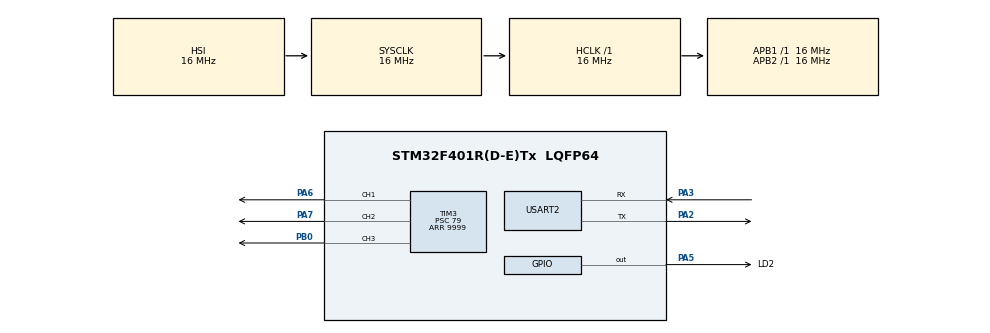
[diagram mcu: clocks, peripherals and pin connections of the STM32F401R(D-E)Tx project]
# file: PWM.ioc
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Mcu.Family=STM32F4
Mcu.Name=STM32F401R(D-E)Tx
Mcu.Package=LQFP64
NVIC.PriorityGroup=NVIC_PRIORITYGROUP_4
NVIC.TIM3_IRQn=true\:10\:0\:true\:false\:true\:true\:true
PA13.Mode=Serial_Wire
PA13.Signal=SYS_JTMS-SWDIO
PA14.Mode=Serial_Wire
PA14.Signal=SYS_JTCK-SWCLK
PA2.Mode=Asynchronous
PA2.Signal=USART2_TX
PA3.Mode=Asynchronous
PA3.Signal=USART2_RX
PA5.GPIO_Label=LD2
PA5.Signal=GPIO_Output
PA6.Signal=S_TIM3_CH1
PA7.Signal=S_TIM3_CH2
PB0.Signal=S_TIM3_CH3
ProjectManager.HeapSize=0x200
ProjectManager.StackSize=0x400
ProjectManager.TargetToolchain=STM32CubeIDE
RCC.AHBFreq_Value=16000000
RCC.APB1Freq_Value=16000000
RCC.APB2Freq_Value=16000000
RCC.CortexFreq_Value=16000000
RCC.HSE_VALUE=25000000
RCC.HSI_VALUE=16000000
RCC.LSE_VALUE=32768
RCC.SYSCLKFreq_VALUE=16000000
RCC.VCOOutputFreq_Value=192000000
SH.S_TIM3_CH1.0=TIM3_CH1,PWM Generation1 CH1
SH.S_TIM3_CH2.0=TIM3_CH2,PWM Generation2 CH2
SH.S_TIM3_CH3.0=TIM3_CH3,PWM Generation3 CH3
TIM3.Channel-PWM\ Generation1\ CH1=TIM_CHANNEL_1
TIM3.Channel-PWM\ Generation2\ CH2=TIM_CHANNEL_2
TIM3.Channel-PWM\ Generation3\ CH3=TIM_CHANNEL_3
TIM3.Period=9999
TIM3.Prescaler=79
TIM3.Pulse-PWM\ Generation1\ CH1=50
TIM3.Pulse-PWM\ Generation2\ CH2=400
TIM3.Pulse-PWM\ Generation3\ CH3=2000
USART2.VirtualMode=VM_ASYNC
VP_TIM3_VS_ClockSourceINT.Mode=Internal
board=custom

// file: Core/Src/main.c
/* USER CODE BEGIN Header */
/**
  ******************************************************************************
  * @file           : main.c
  * @brief          : Main program body
  ******************************************************************************
  * @attention
  *
  * Copyright (c) 2023 STMicroelectronics.
  * All rights reserved.
  *
  * This software is licensed under terms that can be found in the LICENSE file
  * in the root directory of this software component.
  * If no LICENSE file comes with this software, it is provided AS-IS.
  *
  ******************************************************************************
  */
/* USER CODE END Header */
#include "main.h"

/* USER CODE BEGIN Includes */
#include <stdio.h>
#include <stdbool.h>
#include <string.h>
#include "math.h"
/* USER CODE END Includes */

TIM_HandleTypeDef htim3;

UART_HandleTypeDef huart2;

void SystemClock_Config(void);
static void MX_GPIO_Init(void);
static void MX_TIM3_Init(void);
static void MX_USART2_UART_Init(void);

/* USER CODE BEGIN 0 */
void HAL_TIM_PeriodElapsedCallback(TIM_HandleTypeDef *htim)
{
  if (htim == &htim3) {
    HAL_GPIO_TogglePin(LD2_GPIO_Port, LD2_Pin);
    //HAL_GPIO_WritePin(LED1_GPIO_Port, LED1_Pin, GPIO_PIN_SET);
    //HAL_GPIO_WritePin(LED2_GPIO_Port, LED2_Pin, GPIO_PIN_SET);
    //HAL_GPIO_WritePin(LED3_GPIO_Port, LED3_Pin, GPIO_PIN_SET);
  }
}
float calc_pwm(float val)
{
    const float k = 0.13f;
    const float x0 = 70.0f;
    return 10000.0f / (1.0f + exp(-k * (val - x0)));
}
//Reczne obslugiwanie przerwan od kanalow licznika
/*oid HAL_TIM_OC_DelayElapsedCallback(TIM_HandleTypeDef *htim)
{
  if (htim == &htim3) {
    switch (HAL_TIM_GetActiveChannel(&htim3)) {
    case HAL_TIM_ACTIVE_CHANNEL_1:
      HAL_GPIO_WritePin(LED1_GPIO_Port, LED1_Pin, GPIO_PIN_RESET);
      break;
    case HAL_TIM_ACTIVE_CHANNEL_2:
      HAL_GPIO_WritePin(LED2_GPIO_Port, LED2_Pin, GPIO_PIN_RESET);
      break;
    case HAL_TIM_ACTIVE_CHANNEL_3:
      HAL_GPIO_WritePin(LED3_GPIO_Port, LED3_Pin, GPIO_PIN_RESET);
      break;
    default:
      break;
    }
  }
} */
/* USER CODE END 0 */

int main(void)
{

  /* MCU Configuration--------------------------------------------------------*/

  /* Reset of all peripherals, Initializes the Flash interface and the Systick. */
  HAL_Init();

  /* Configure the system clock */
  SystemClock_Config();

  /* Initialize all configured peripherals */
  MX_GPIO_Init();
  MX_TIM3_Init();
  MX_USART2_UART_Init();
  /* USER CODE BEGIN 2 */
int counter;
  HAL_TIM_Base_Start_IT(&htim3);
  HAL_TIM_OC_Start(&htim3, TIM_CHANNEL_1);
  HAL_TIM_OC_Start(&htim3, TIM_CHANNEL_2);
  HAL_TIM_OC_Start(&htim3, TIM_CHANNEL_3);

  /* USER CODE END 2 */

  /* Infinite loop */
  /* USER CODE BEGIN WHILE */
  while (1)
  {
	  float r = 50 * (1.0f + sin(counter / 100.0f));
	  float g = 50 * (1.0f + sin(1.5f * counter / 100.0f));
	  float b = 50 * (1.0f + sin(2.0f * counter / 100.0f));
	  __HAL_TIM_SET_COMPARE(&htim3, TIM_CHANNEL_1, calc_pwm(b));
	  __HAL_TIM_SET_COMPARE(&htim3, TIM_CHANNEL_2, calc_pwm(g));
	  __HAL_TIM_SET_COMPARE(&htim3, TIM_CHANNEL_3, calc_pwm(r));

	  HAL_Delay(10);
	  counter++;
    /* USER CODE END WHILE */

  }
}

void SystemClock_Config(void)
{
  RCC_OscInitTypeDef RCC_OscInitStruct = {0};
  RCC_ClkInitTypeDef RCC_ClkInitStruct = {0};

  /** Configure the main internal regulator output voltage
  */
  __HAL_RCC_PWR_CLK_ENABLE();
  __HAL_PWR_VOLTAGESCALING_CONFIG(PWR_REGULATOR_VOLTAGE_SCALE2);
  /** Initializes the RCC Oscillators according to the specified parameters
  * in the RCC_OscInitTypeDef structure.
  */
  RCC_OscInitStruct.OscillatorType = RCC_OSCILLATORTYPE_HSI;
  RCC_OscInitStruct.HSIState = RCC_HSI_ON;
  RCC_OscInitStruct.HSICalibrationValue = RCC_HSICALIBRATION_DEFAULT;
  RCC_OscInitStruct.PLL.PLLState = RCC_PLL_NONE;
  if (HAL_RCC_OscConfig(&RCC_OscInitStruct) != HAL_OK)
  {
    Error_Handler();
  }
  /** Initializes the CPU, AHB and APB buses clocks
  */
  RCC_ClkInitStruct.ClockType = RCC_CLOCKTYPE_HCLK|RCC_CLOCKTYPE_SYSCLK
                              |RCC_CLOCKTYPE_PCLK1|RCC_CLOCKTYPE_PCLK2;
  RCC_ClkInitStruct.SYSCLKSource = RCC_SYSCLKSOURCE_HSI;
  RCC_ClkInitStruct.AHBCLKDivider = RCC_SYSCLK_DIV1;
  RCC_ClkInitStruct.APB1CLKDivider = RCC_HCLK_DIV1;
  RCC_ClkInitStruct.APB2CLKDivider = RCC_HCLK_DIV1;

  if (HAL_RCC_ClockConfig(&RCC_ClkInitStruct, FLASH_LATENCY_0) != HAL_OK)
  {
    Error_Handler();
  }
}

static void MX_TIM3_Init(void)
{

  TIM_ClockConfigTypeDef sClockSourceConfig = {0};
  TIM_MasterConfigTypeDef sMasterConfig = {0};
  TIM_OC_InitTypeDef sConfigOC = {0};

  htim3.Instance = TIM3;
  htim3.Init.Prescaler = 79;
  htim3.Init.CounterMode = TIM_COUNTERMODE_UP;
  htim3.Init.Period = 9999;
  htim3.Init.ClockDivision = TIM_CLOCKDIVISION_DIV1;
  htim3.Init.AutoReloadPreload = TIM_AUTORELOAD_PRELOAD_DISABLE;
  if (HAL_TIM_Base_Init(&htim3) != HAL_OK)
  {
    Error_Handler();
  }
  sClockSourceConfig.ClockSource = TIM_CLOCKSOURCE_INTERNAL;
  if (HAL_TIM_ConfigClockSource(&htim3, &sClockSourceConfig) != HAL_OK)
  {
    Error_Handler();
  }
  if (HAL_TIM_PWM_Init(&htim3) != HAL_OK)
  {
    Error_Handler();
  }
  sMasterConfig.MasterOutputTrigger = TIM_TRGO_RESET;
  sMasterConfig.MasterSlaveMode = TIM_MASTERSLAVEMODE_DISABLE;
  if (HAL_TIMEx_MasterConfigSynchronization(&htim3, &sMasterConfig) != HAL_OK)
  {
    Error_Handler();
  }
  sConfigOC.OCMode = TIM_OCMODE_PWM1;
  sConfigOC.Pulse = 50;
  sConfigOC.OCPolarity = TIM_OCPOLARITY_HIGH;
  sConfigOC.OCFastMode = TIM_OCFAST_DISABLE;
  if (HAL_TIM_PWM_ConfigChannel(&htim3, &sConfigOC, TIM_CHANNEL_1) != HAL_OK)
  {
    Error_Handler();
  }
  sConfigOC.Pulse = 400;
  if (HAL_TIM_PWM_ConfigChannel(&htim3, &sConfigOC, TIM_CHANNEL_2) != HAL_OK)
  {
    Error_Handler();
  }
  sConfigOC.Pulse = 2000;
  if (HAL_TIM_PWM_ConfigChannel(&htim3, &sConfigOC, TIM_CHANNEL_3) != HAL_OK)
  {
    Error_Handler();
  }
  HAL_TIM_MspPostInit(&htim3);

}

static void MX_USART2_UART_Init(void)
{

  huart2.Instance = USART2;
  huart2.Init.BaudRate = 115200;
  huart2.Init.WordLength = UART_WORDLENGTH_8B;
  huart2.Init.StopBits = UART_STOPBITS_1;
  huart2.Init.Parity = UART_PARITY_NONE;
  huart2.Init.Mode = UART_MODE_TX_RX;
  huart2.Init.HwFlowCtl = UART_HWCONTROL_NONE;
  huart2.Init.OverSampling = UART_OVERSAMPLING_16;
  if (HAL_UART_Init(&huart2) != HAL_OK)
  {
    Error_Handler();
  }

}

static void MX_GPIO_Init(void)
{
  GPIO_InitTypeDef GPIO_InitStruct = {0};

  /* GPIO Ports Clock Enable */
  __HAL_RCC_GPIOA_CLK_ENABLE();
  __HAL_RCC_GPIOB_CLK_ENABLE();

  /*Configure GPIO pin Output Level */
  HAL_GPIO_WritePin(LD2_GPIO_Port, LD2_Pin, GPIO_PIN_RESET);

  /*Configure GPIO pin : LD2_Pin */
  GPIO_InitStruct.Pin = LD2_Pin;
  GPIO_InitStruct.Mode = GPIO_MODE_OUTPUT_PP;
  GPIO_InitStruct.Pull = GPIO_NOPULL;
  GPIO_InitStruct.Speed = GPIO_SPEED_FREQ_LOW;
  HAL_GPIO_Init(LD2_GPIO_Port, &GPIO_InitStruct);

}

void Error_Handler(void)
{
  __disable_irq();
  while (1)
  {
  }
}
